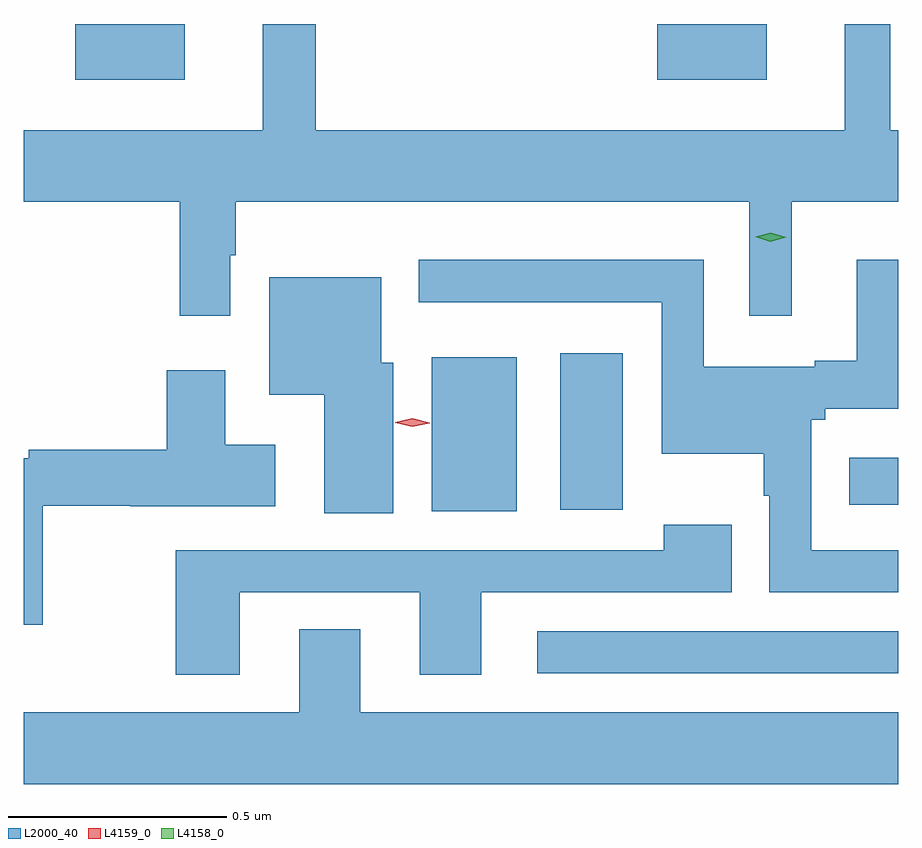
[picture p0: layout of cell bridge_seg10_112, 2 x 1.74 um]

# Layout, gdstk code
import gdstk
lib = gdstk.Library(unit=1e-6, precision=1e-09)
def R(c, l, rs):  # rectangles x0, y0, x1, y1
    for r in rs: c.add(gdstk.rectangle(r[:2], r[2:], *l))
def P(c, l, *ps):  # polygons
    for p in ps: c.add(gdstk.Polygon(p, *l))
L2000_40 = (2000, 40)
L4158_0 = (4158, 0)
L4159_0 = (4159, 0)

bridge_seg10_112 = lib.new_cell('bridge_seg10_112')
R(bridge_seg10_112, L2000_40, [(449.247,1251.285,450.073,1251.381), (449.006,1251.656,449.2,1252.009), (449.3,1251.66,449.443,1252.018), (449.961,1251.671,450.073,1251.778), (448.19,1252.643,448.441,1252.771), (449.522,1252.643,449.773,1252.771)])
P(bridge_seg10_112, L2000_40, [(448.073,1252.364),(448.429,1252.364),(448.429,1252.104),(448.545,1252.104),(448.545,1252.242),(448.558,1252.242),(448.558,1252.364),(449.733,1252.364),(449.733,1252.104),(449.83,1252.104),(449.83,1252.364),(450.073,1252.364),(450.073,1252.528),(450.055,1252.528),(450.055,1252.771),(449.951,1252.771),(449.951,1252.528),(448.741,1252.528),(448.741,1252.771),(448.619,1252.771),(448.619,1252.528),(448.073,1252.528)],
  [(450.073,1251.567),(449.874,1251.567),(449.874,1251.866),(449.907,1251.866),(449.907,1251.891),(450.073,1251.891),(450.073,1252.231),(449.978,1252.231),(449.978,1252),(449.882,1252),(449.882,1251.987),(449.628,1251.987),(449.628,1252.231),(448.976,1252.231),(448.976,1252.134),(449.532,1252.134),(449.532,1251.788),(449.766,1251.788),(449.766,1251.692),(449.778,1251.692),(449.778,1251.471),(450.073,1251.471)],
  [(448.918,1251.996),(448.891,1251.996),(448.891,1252.192),(448.634,1252.192),(448.634,1251.923),(448.76,1251.923),(448.76,1251.652),(448.918,1251.652)],
  [(448.116,1251.669),(448.316,1251.669),(448.316,1251.668),(448.648,1251.668),(448.648,1251.808),(448.534,1251.808),(448.534,1251.979),(448.4,1251.979),(448.4,1251.797),(448.084,1251.797),(448.084,1251.777),(448.073,1251.777),(448.073,1251.396),(448.116,1251.396)],
  [(448.567,1251.471),(448.979,1251.471),(448.979,1251.282),(449.119,1251.282),(449.119,1251.471),(449.693,1251.471),(449.693,1251.625),(449.537,1251.625),(449.537,1251.567),(448.42,1251.567),(448.42,1251.282),(448.567,1251.282)],
  [(450.073,1251.196),(448.843,1251.196),(448.843,1251.386),(448.703,1251.386),(448.703,1251.196),(448.073,1251.196),(448.073,1251.032),(450.073,1251.032)])
P(bridge_seg10_112, L4158_0, [(449.781,1252.273),(449.746,1252.284),(449.746,1252.284),(449.746,1252.284),(449.782,1252.293),(449.817,1252.283),(449.817,1252.283),(449.817,1252.283)])
P(bridge_seg10_112, L4159_0, [(448.962,1251.849),(448.923,1251.859),(448.923,1251.86),(448.923,1251.86),(448.962,1251.869),(449.001,1251.859),(449.002,1251.859),(449.001,1251.858)])

lib.write_gds('bridge_seg10_112.gds')
